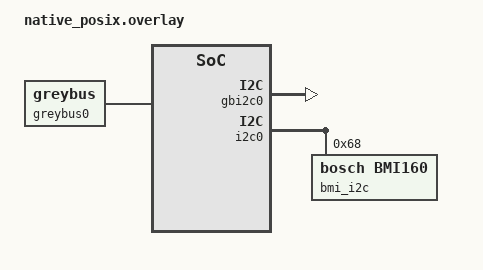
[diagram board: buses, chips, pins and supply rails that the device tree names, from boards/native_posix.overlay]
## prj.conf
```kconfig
CONFIG_HEAP_MEM_POOL_SIZE=16384
CONFIG_NEWLIB_LIBC=y

# Serial (required for XPORT_UART)
CONFIG_SERIAL=y

# Greybus options and dependencies
CONFIG_GREYBUS=y
CONFIG_GREYBUS_CONTROL=y
CONFIG_GREYBUS_XPORT_UART=y
CONFIG_PTHREAD_IPC=y
CONFIG_PTHREAD_DYNAMIC_STACK=y
CONFIG_THREAD_NAME=y
CONFIG_MAX_PTHREAD_COUNT=16
CONFIG_GREYBUS=y
CONFIG_GREYBUS_CONTROL=y
CONFIG_POSIX_CLOCK=y
CONFIG_PTHREAD_IPC=y
CONFIG_PTHREAD_DYNAMIC_STACK=y
CONFIG_PTHREAD_DYNAMIC_STACK_DEFAULT_SIZE=2048
CONFIG_THREAD_NAME=y
CONFIG_GREYBUS_LOG_LEVEL_DBG=y
CONFIG_I2C_LOG_LEVEL_DBG=y
# Console options
CONFIG_CONSOLE_SUBSYS=y
CONFIG_CONSOLE_GETCHAR=y

# Kernel options
CONFIG_MAIN_STACK_SIZE=1024
CONFIG_ENTROPY_GENERATOR=y
CONFIG_INIT_STACKS=y

# Logging
CONFIG_LOG=y
CONFIG_PRINTK=y

# Pthread options
CONFIG_MAX_PTHREAD_COUNT=16
CONFIG_RING_BUFFER=y
```

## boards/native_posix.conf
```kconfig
# Copyright (c) 2020 Friedt Professional Engineering Services, Inc
# SPDX-License-Identifier: BSD-3-Clause

CONFIG_UART_NATIVE_POSIX=y
CONFIG_UART_NATIVE_POSIX_PORT_1_ENABLE=y
CONFIG_NATIVE_UART_0_ON_OWN_PTY=y
CONFIG_NATIVE_UART_0_ON_STDINOUT=y
CONFIG_UART_CONSOLE=y
CONFIG_LOG_BACKEND_NATIVE_POSIX=y
CONFIG_GREYBUS_XPORT_UART_DEV="UART_0"

CONFIG_GPIO=y
CONFIG_GPIO_EMUL=y
CONFIG_GREYBUS_GPIO=y

CONFIG_I2C=y
CONFIG_I2C_EMUL=y
CONFIG_GREYBUS_I2C=y

# CONFIG_SPI=y
# CONFIG_SPI_EMUL=y
# CONFIG_GREYBUS_SPI=y

CONFIG_BMI160=y
CONFIG_EMUL_BMI160=y
CONFIG_SENSOR=y
CONFIG_BMI160_TRIGGER_NONE=y
CONFIG_POSIX_CLOCK=y
```

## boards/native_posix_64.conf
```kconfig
# Copyright (c) 2020 Friedt Professional Engineering Services, Inc
# SPDX-License-Identifier: BSD-3-Clause

CONFIG_UART_NATIVE_POSIX=y
CONFIG_UART_NATIVE_POSIX_PORT_1_ENABLE=y
CONFIG_NATIVE_UART_0_ON_OWN_PTY=y
# CONFIG_NATIVE_UART_0_ON_STDINOUT=y
CONFIG_GREYBUS_XPORT_UART=y
CONFIG_GREYBUS_XPORT_UART_DEV="UART_1"
CONFIG_GPIO=y
CONFIG_GPIO_EMUL=y
CONFIG_GREYBUS_GPIO=y

CONFIG_I2C=y
CONFIG_I2C_EMUL=y
CONFIG_GREYBUS_I2C=y

# CONFIG_SPI=y
# CONFIG_SPI_EMUL=y
# CONFIG_GREYBUS_SPI=y

CONFIG_BMI160=y
CONFIG_EMUL_BMI160=y
CONFIG_SENSOR=y
CONFIG_BMI160_TRIGGER_NONE=y
```

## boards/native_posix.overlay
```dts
/*
 * Copyright (c) 2020 Friedt Professional Engineering Services, Inc
 *
 * SPDX-License-Identifier: BSD-3-Clause
 */
 #include <dt-bindings/greybus/greybus.h>

/ {
	resources {
		compatible = "test,greybus-i2c";
		test-i2c = <&i2c0>; 
	};
	greybus0: greybus0 {
		compatible = "zephyr,greybus";
		greybus;
	};

	// aliases {
	// 	// accel-0 = &bmi_spi;
	// 	accel-1 = &bmi_i2c;
	// };
};


&gpio0 {
	status = "okay";
	ngpios = <2>;
};

// &spi0 {
// 	bmi_spi: bmi@3 {
// 		compatible = "bosch,bmi160";
// 		spi-max-frequency = <50000000>;
// 		reg = <3>;
// 		label = "accel-spi";
// 	};
// };


&i2c0 {
 	bmi_i2c: bmi@68 {
 		compatible = "bosch,bmi160";
 		reg = <0x68>;
 	};
};

&greybus0 {
	status = "okay";
	/* defaults in effect, so this isn't necessary */
	version-major = <GREYBUS_VERSION_MAJOR>;
	version-minor = <GREYBUS_VERSION_MINOR>;

	gbstring1: gbstring1 {
		status = "okay";
		compatible = "zephyr,greybus-string";
		id = <1>;
		greybus-string = "Zephyr Project RTOS";
	};

	gbstring2: gbstring2 {
		status = "okay";
		compatible = "zephyr,greybus-string";
		id = <2>;
		greybus-string = "Greybus Service Sample Application";
	};
	gbstring3: gbstring3 {
		status = "okay";
		compatible = "zephyr,greybus-string";
		id = <3>;
		greybus-string = "bmi160";
	};
	gbinterface0 {
		status = "okay";
		compatible = "zephyr,greybus-interface";
		vendor-string-id = <&gbstring1>;
		product-string-id = <&gbstring2>;
		greybus-interface;
	};

	gbbundle0 {
		status = "okay";
		compatible = "zephyr,greybus-bundle";
		greybus-bundle;
		/* Control Bundle 0
		 * Note: control bundle 0 and control cport 0 are optional
		 * Since instance numbers automatically begin at 0, the id
		 * is a mandatory field for bundles and cports.
		 */
		id = <CONTROL_BUNDLE_ID>;
		bundle-class = <BUNDLE_CLASS_CONTROL>;

		gbcontrol0 {
			status = "okay";
			compatible = "zephyr,greybus-control";
			greybus-controller;
			/* Control CPort 0
			 * Note: control bundle 0 and control cport 0 are optional
			 * Since instance numbers automatically begin at 0, the id
			 * is a mandatory field for bundles and cports.
			 */
			id = <CONTROL_CPORT_ID>;
			cport-protocol = <CPORT_PROTOCOL_CONTROL>; 
		};
	};
	
	gbbundle1 {
		status = "okay";
		compatible = "zephyr,greybus-bundle";
		greybus-bundle;
		id = <1>;
		bundle-class = <BUNDLE_CLASS_BRIDGED_PHY>;		
				
		gbgpio0 {
			status = "okay";
			compatible = "zephyr,greybus-gpio-controller";
			greybus-gpio-controller = <&gpio0>;
			id = <1>;
			cport-protocol = <CPORT_PROTOCOL_GPIO>;
		};

		gbi2c0 {
		 	status = "okay";
		 	compatible = "zephyr,greybus-i2c-controller";
		 	greybus-i2c-controller = <&i2c0>;
		 	/* I2C is CPort 2 in this case */
		 	id = <2>;
		 	cport-protocol = <CPORT_PROTOCOL_I2C>;
		};
	};

	gbdevice0 {
		status = "okay";
		compatible = "zephyr,greybus-device";
		id = <1>;
		driver-string-id = <&gbstring3>;
		protocol = <3>;
		addr = <0x68>;
	};
};
```

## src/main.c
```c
/*
 * Copyright (c) 2109 Friedt Professional Engineering Services, Inc
 *
 * SPDX-License-Identifier: BSD-3-Clause
 */

#include <stdio.h>
#include <zephyr/kernel.h>

void main(void)
{
}
```
